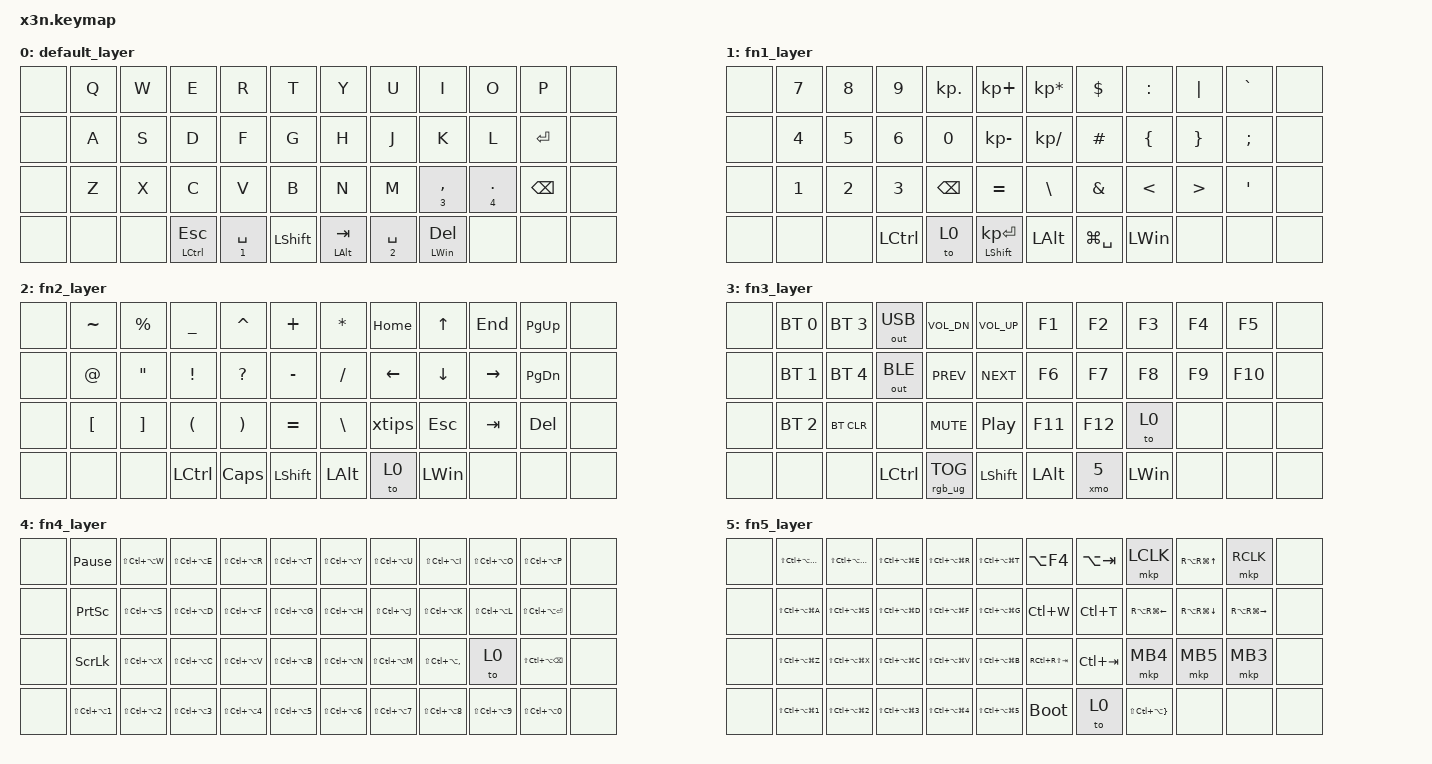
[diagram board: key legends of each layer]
/*
 * Copyright (c) 2020 The ZMK Contributors
 *
 * SPDX-License-Identifier: MIT
 */

#include <behaviors.dtsi>
#include <dt-bindings/zmk/keys.h>
#include <dt-bindings/zmk/rgb.h>
#include <dt-bindings/zmk/bt.h>
#include <dt-bindings/zmk/outputs.h>
#include <dt-bindings/zmk/ext_power.h>
#include <dt-bindings/zmk/mouse.h>

/ {
      behaviors {
        xlt: behavior_mo_tap {
            compatible = "zmk,behavior-hold-tap";
            label = "XLT";
            #binding-cells = <2>;
            flavor = "hold-preferred";
            tapping-term-ms = <200>;
            bindings = <&xmo>, <&kp>;
        };
      };

      macros {
        xtips: xtips {
            compatible = "zmk,behavior-macro";
            label = "XTIPS";
            #binding-cells = <0>;
            bindings = <&kp LS(X) &kp KP_DOT &kp LS(T) &kp I &kp P &kp S>;
            wait-ms = <1>;
            tap-ms = <1>;
        };

        xmo: xmo {
            compatible = "zmk,behavior-macro-one-param";
            label = "XMO";
            #binding-cells = <1>;
            bindings
            = <&macro_param_1to1>
            , <&macro_press &mo MACRO_PLACEHOLDER>
            , <&macro_tap &rgb_ug RGB_EFF>
            , <&macro_tap &rgb_ug RGB_COLOR_HSB(0,0,90)>
            , <&macro_pause_for_release>
            , <&macro_param_1to1>
            , <&macro_release &mo MACRO_PLACEHOLDER>
            , <&macro_tap &rgb_ug RGB_EFR>
            , <&macro_tap &rgb_ug RGB_COLOR_HSB(250,90,90)>;
            wait-ms = <0>;
            tap-ms = <0>;
        };
      };

	keymap0: keymap {
		compatible = "zmk,keymap";

		default_layer {
            // | --- |   Q   |   W   |   E   |   R   |   T   |   Y   |   U   |   I   |   O   |   P   |  --- |
            // | --- |   A   |   S   |   D   |   F   |   G   |   H   |   J   |   K   |   L   |  Ent  |  --- |
            // | --- |   Z   |   X   |   C   |   V   |   B   |   N   |   M   | 3,Spc |  Del  |  BS   |  --- |
            // | --- |  ---  |  ---  | LCtrl | MO(1) | LSht  |  LAlt | MO(2) | LWin  |  ---  |  ---  |  --- | 
            bindings = <
            &none    &kp Q     &kp W     &kp E         &kp R       &kp T     &kp Y        &kp U       &kp I          &kp O       &kp P     &none
            &none    &kp A     &kp S     &kp D         &kp F       &kp G     &kp H        &kp J       &kp K          &kp L       &kp ENTER &none 
            &none    &kp Z     &kp X     &kp C         &kp V       &kp B     &kp N        &kp M       &xlt 3 COMMA    &xlt 4 DOT   &kp BSPC  &none
            &none    &none     &none     &mt LCTRL ESC &xlt 1 SPACE &kp LSHFT &mt LALT TAB &xlt 2 SPACE &mt LWIN DEL   &none       &none     &none
            >;
		};

		fn1_layer {
            // | --- |   7   |   8   |   9   |   .   |   +   |   *   |   $   |   :   |   |   |   `   |  --- |
            // | --- |   4   |   5   |   6   |   0   |   -   |   /   |   #   |   {   |   }   |   ;   |  --- |
            // | --- |   1   |   2   |   3   |  BS   | P-Ent |  CAPS | #Spc  |   ,   |   .   | !#BS  |  --- |
            // | --- |  ---  |  ---  | LCtrl | TO(0) | LSht  |  LAlt | #Spc  | LWin  |  ---  |  ---  |  --- | 
            bindings = <
            &none   &kp N7    &kp N8    &kp N9    &kp KP_DOT &kp KP_PLUS         &kp KP_MULTIPLY  &kp DLLR      &kp COLON  &kp PIPE   &kp GRAVE    &none 
            &none   &kp N4    &kp N5    &kp N6    &kp N0     &kp KP_MINUS        &kp KP_SLASH     &kp HASH      &kp LBRC   &kp RBRC   &kp SEMI     &none  
            &none   &kp N1    &kp N2    &kp N3    &kp BSPC   &kp EQUAL           &kp BSLH         &kp AMPS      &kp LT     &kp GT     &kp SQT      &none
            &none   &none     &none     &kp LCTRL &to 0      &mt LSHFT KP_ENTER  &kp LALT         &kp LG(SPACE) &kp LWIN   &none      &none        &none
             >;
		};

		fn2_layer {
            // | --- |   ~   |   %   |   _   |   ^   |   <   |   >   |  Home |   Up  |  End  | PgUp  |  --- |
            // | --- |   @   |   "   |   !   |   ?   |   (   |   )   |  Left |   Dn  | Right | PgDn  |  --- |
            // | --- |   [   |   ]   |   '   |   &   |   =   |   /   | ^!+/  |  Esc  |  Tab  | !#Del |  --- |
            // | --- |  ---  |  ---  | LCtrl | #Spc  | LSht  |  LAlt | TO(0) | LWin  |  ---  |  ---  |  --- | 
            bindings = <
            &none  &kp TILDE &kp PRCNT &kp UNDER &kp CARET  &kp PLUS   &kp STAR   &kp HOME   &kp UP    &kp END    &kp PG_UP   &none 
            &none  &kp AT    &kp DQT   &kp EXCL  &kp QMARK  &kp MINUS  &kp SLASH  &kp LEFT   &kp DOWN  &kp RIGHT  &kp PG_DN   &none 
            &none  &kp LBKT  &kp RBKT  &kp LPAR  &kp RPAR   &kp EQUAL  &kp BSLH   &xtips     &kp ESC   &kp TAB    &kp DEL     &none 
            &none  &none     &none     &kp LCTRL &kp CAPS   &kp LSHFT  &kp LALT   &to 0      &kp LWIN  &none      &none       &none
            >;
		};

		fn3_layer {
            bindings = <
            &none   &bt BT_SEL 0  &bt BT_SEL 3  &out OUT_USB  &kp C_VOL_DN     &kp C_VOL_UP             &kp F1    &kp F2    &kp F3    &kp F4    &kp F5    &none 
            &none   &bt BT_SEL 1  &bt BT_SEL 4  &out OUT_BLE  &kp C_PREV       &kp C_NEXT               &kp F6    &kp F7    &kp F8    &kp F9    &kp F10   &none 
            &none   &bt BT_SEL 2  &bt BT_CLR    &none         &kp C_MUTE       &kp C_PP                 &kp F11   &kp F12   &to 0     &none     &none     &none 
            &none   &none         &none   &kp LCTRL &rgb_ug RGB_TOG &kp LSHFT &kp LALT       &xmo 5         &kp LWIN      &none         &none         &none
            >;
		};

		fn4_layer {
            bindings = <
            &none   &kp PAUSE_BREAK    &kp LS(LC(LA(W)))  &kp LS(LC(LA(E)))  &kp LS(LC(LA(R)))  &kp LS(LC(LA(T)))   &kp LS(LC(LA(Y)))  &kp LS(LC(LA(U)))  &kp LS(LC(LA(I)))     &kp LS(LC(LA(O)))  &kp LS(LC(LA(P)))     &none    
            &none   &kp PSCRN          &kp LS(LC(LA(S)))  &kp LS(LC(LA(D)))  &kp LS(LC(LA(F)))  &kp LS(LC(LA(G)))   &kp LS(LC(LA(H)))  &kp LS(LC(LA(J)))  &kp LS(LC(LA(K)))     &kp LS(LC(LA(L)))  &kp LS(LC(LA(ENTER))) &none     
            &none   &kp SLCK           &kp LS(LC(LA(X)))  &kp LS(LC(LA(C)))  &kp LS(LC(LA(V)))  &kp LS(LC(LA(B)))   &kp LS(LC(LA(N)))  &kp LS(LC(LA(M)))  &kp LS(LC(LA(COMMA))) &to 0              &kp LS(LC(LA(BSPC)))  &none     
            &none   &kp LS(LC(LA(N1))) &kp LS(LC(LA(N2))) &kp LS(LC(LA(N3))) &kp LS(LC(LA(N4))) &kp LS(LC(LA(N5)))  &kp LS(LC(LA(N6))) &kp LS(LC(LA(N7))) &kp LS(LC(LA(N8)))    &kp LS(LC(LA(N9))) &kp LS(LC(LA(N0)))    &none   
            >;
		};

		fn5_layer {
            bindings = <
            &none   &kp LS(LC(LA(LG(Q)))) &kp LS(LC(LA(LG(W)))) &kp LS(LC(LA(LG(E)))) &kp LS(LC(LA(LG(R)))) &kp LS(LC(LA(LG(T))))   &kp LA(F4)      &kp LA(TAB)   &mkp LCLK             &kp RA(RG(UP))     &mkp RCLK          &none    
            &none   &kp LS(LC(LA(LG(A)))) &kp LS(LC(LA(LG(S)))) &kp LS(LC(LA(LG(D)))) &kp LS(LC(LA(LG(F)))) &kp LS(LC(LA(LG(G))))   &kp LC(W)       &kp LC(T)     &kp RA(RG(LEFT))      &kp RA(RG(DOWN))   &kp RA(RG(RIGHT))  &none    
            &none   &kp LS(LC(LA(LG(Z)))) &kp LS(LC(LA(LG(X)))) &kp LS(LC(LA(LG(C)))) &kp LS(LC(LA(LG(V)))) &kp LS(LC(LA(LG(B))))   &kp RC(RS(TAB)) &kp LC(TAB)   &mkp MB4              &mkp MB5           &mkp MB3           &none   
            &none   &kp LS(LC(LA(LG(1)))) &kp LS(LC(LA(LG(2)))) &kp LS(LC(LA(LG(3)))) &kp LS(LC(LA(LG(4)))) &kp LS(LC(LA(LG(5))))   &bootloader     &to 0         &kp LS(LC(LA(RBRC)))  &none              &none              &none   
            >;
		};
	};
};
